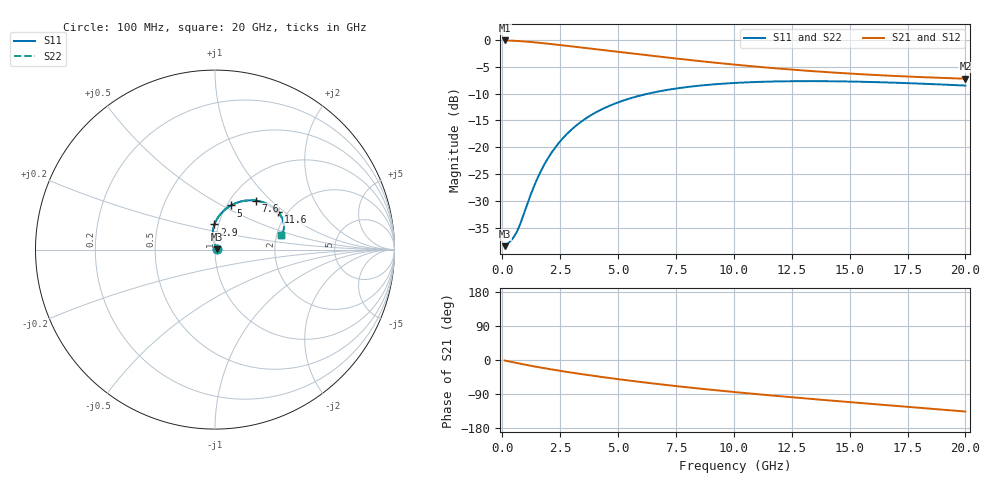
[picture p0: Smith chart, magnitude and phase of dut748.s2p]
! Touchstone file exported from HFSS 2024.1.0
!  File:  C:/UserFiles/LocalFiles/RDL_TSV_Batchsim/temp_RDL_TSV_748_1779897081.aedt
!  Generated:  12:05:12 AM May 28, 2026
!  Design:  RDL_TSV
!  Project:  temp_RDL_TSV_748_1779897081
!  Setup:  Setup1
!  Solution:  Sweep
! Variables:
!  dtsv = 9.78um
!  hbump = 3um
!  htsv = 58.53um
!  ldown = 425.29um
!  lrdl = 155.67um
!  p = 40
!  p1 = 57.83um
!  rhole = 10um
!  subl = 1898.55um
!  t = 450um
!  tdown = 2.93um
!  trdl = 4.49um
!  viad = 10um
!  wdown = 18.62um
!  wrdl = 17.02um
!  xbump = 18um
# GHz S MA R 50.000000
! Terminal data exported
! Port[1] = TM1_1_T1
! Port[2] = TM1_4_T1
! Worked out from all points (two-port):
!   200 points, 100 MHz to 20 GHz, reference 50 ohm
!   highest |S21| = -0.11 dB at 100 MHz (marker M1); lowest = -7.2 dB at 20 GHz (marker M2)
!   |S21| within 3 dB of the highest: start of sweep to 6.756 GHz
!   lowest |S11| = -38.5 dB at 100 MHz (marker M3), VSWR 1.02, Z = 51.2 + j0.237 ohm
!   |S11| at or under -10 dB: start of sweep to 6.319 GHz
!   |S22| runs from -38.5 to -7.7 dB; largest |S21 - S12| = 1e-14
!   S11 on the Smith chart (normalised r, x): 100 MHz: 1.02, +0.00; 2.9 GHz: 0.96, +0.27; 5 GHz: 1.05, +0.55; 7.6 GHz: 1.30, +0.81; 11.6 GHz: 1.79, +0.90; 20 GHz: 2.10, +0.40
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0.1  0.01195 11.2  0.9879 -1.3  0.9879 -1.3  0.01195 11.2
! Gamma 0 0 0 0
! Port Impedance 50 0 50 0
0.4  0.01369 40.4  0.9836 -5.2  0.9836 -5.2  0.01369 40.4
0.6  0.01582 59.3  0.9788 -7.7  0.9788 -7.7  0.01582 59.3
0.8  0.01991 76.1  0.9728 -10.1  0.9728 -10.1  0.01991 76.1
1.2  0.03478 94.8  0.9577 -14.8  0.9577 -14.8  0.03478 94.8
1.4  0.04478 98.3  0.949 -17.1  0.949 -17.1  0.04478 98.4
1.6  0.05595 99.7  0.9397 -19.3  0.9397 -19.3  0.05595 99.8
1.9  0.07421 99.5  0.9252 -22.5  0.9252 -22.5  0.07423 99.5
2.4  0.1068 96.1  0.9001 -27.6  0.9001 -27.6  0.1069 96.1
2.9  0.14 91.2  0.8749 -32.4  0.8749 -32.4  0.1401 91.2
3.5  0.1786 84.8  0.8451 -37.9  0.8451 -37.9  0.1786 84.9
4.2  0.22 77.6  0.8114 -44.0  0.8114 -44.0  0.2201 77.7
5  0.2615 70.1  0.7743 -50.5  0.7743 -50.5  0.2616 70.1
5.8  0.2967 63.2  0.739 -56.7  0.739 -56.7  0.2968 63.3
6.8  0.3322 55.7  0.6976 -64.0  0.6976 -64.0  0.3324 55.7
7.6  0.3546 50.3  0.667 -69.5  0.667 -69.5  0.3548 50.4
8.8  0.3797 43.3  0.6253 -77.2  0.6253 -77.2  0.38 43.4
10.1  0.3976 36.9  0.5861 -85.0  0.5861 -85.0  0.3979 36.9
11.6  0.4089 30.7  0.548 -93.4  0.548 -93.4  0.4092 30.7
13.4  0.4126 24.7  0.5112 -103.0  0.5112 -103.0  0.4129 24.7
16.7  0.4007 16.8  0.4639 -119.6  0.4639 -119.6  0.401 16.9
20  0.3751 12.7  0.4348 -136.0  0.4348 -136.0  0.3754 12.8
